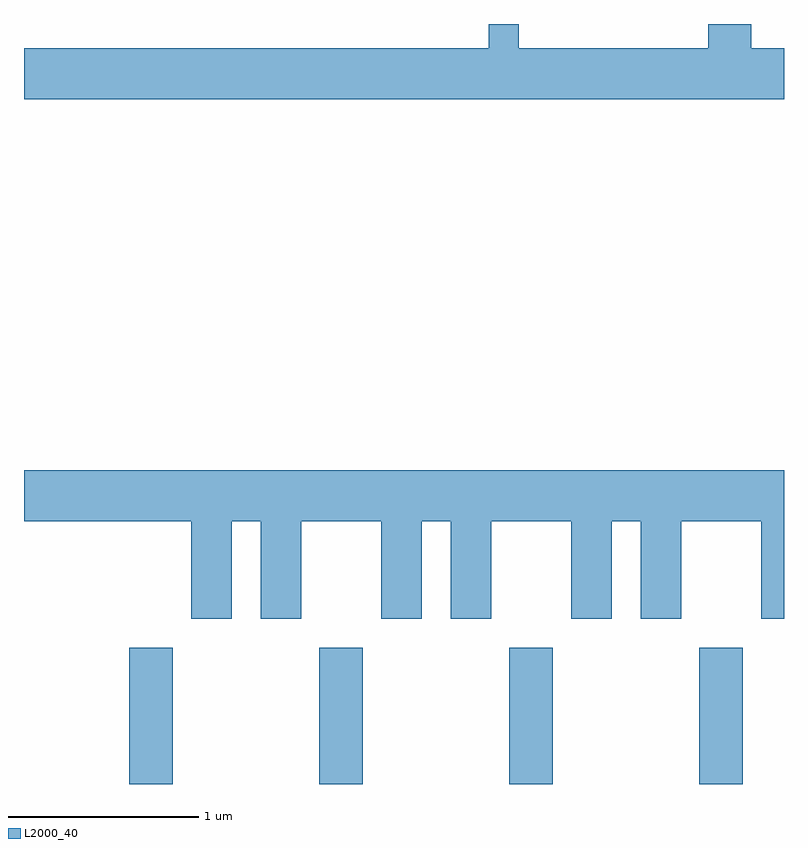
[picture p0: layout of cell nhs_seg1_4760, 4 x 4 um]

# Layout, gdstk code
import gdstk
lib = gdstk.Library(unit=1e-6, precision=1e-09)
def R(c, l, rs):  # rectangles x0, y0, x1, y1
    for r in rs: c.add(gdstk.rectangle(r[:2], r[2:], *l))
def A(c, l, x, y, w, h, nx, ny, dx, dy):  # array of equal rectangles
    R(c, l, [(x+i*dx, y+j*dy, x+i*dx+w, y+j*dy+h) for i in range(nx) for j in range(ny)])
def P(c, l, *ps):  # polygons
    for p in ps: c.add(gdstk.Polygon(p, *l))
L2000_40 = (2000, 40)

nhs_seg1_4760 = lib.new_cell('nhs_seg1_4760')
A(nhs_seg1_4760, L2000_40, 328.166, 933.712, 0.228, 0.717, 4, 1, 1, 0)
P(nhs_seg1_4760, L2000_40, [(331.611,937.584),(331.439,937.584),(331.439,937.712),(331.211,937.712),(331.211,937.584),(330.214,937.584),(330.214,937.712),(330.056,937.712),(330.056,937.584),(327.611,937.584),(327.611,937.316),(331.611,937.316)],
  [(328.704,935.096),(328.856,935.096),(328.856,934.581),(329.069,934.581),(329.069,935.096),(329.491,935.096),(329.491,934.581),(329.704,934.581),(329.704,935.096),(329.856,935.096),(329.856,934.581),(330.069,934.581),(330.069,935.096),(330.491,935.096),(330.491,934.581),(330.704,934.581),(330.704,935.096),(330.856,935.096),(330.856,934.581),(331.069,934.581),(331.069,935.096),(331.491,935.096),(331.491,934.581),(331.611,934.581),(331.611,935.364),(327.611,935.364),(327.611,935.096),(328.491,935.096),(328.491,934.581),(328.704,934.581)])

lib.write_gds('nhs_seg1_4760.gds')
